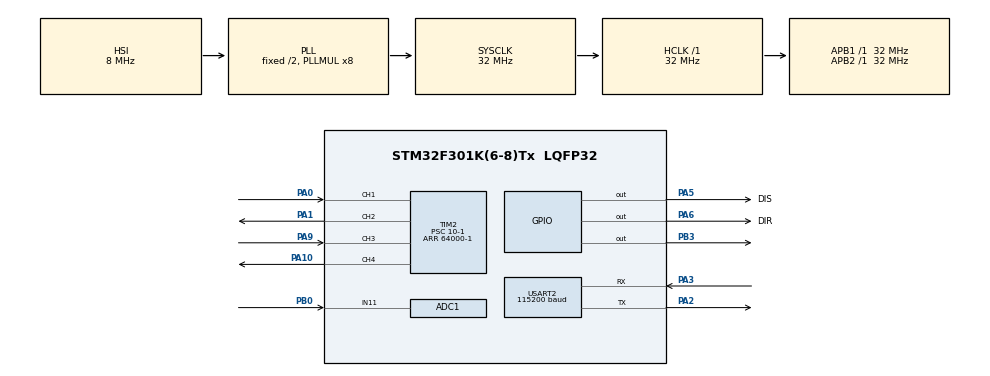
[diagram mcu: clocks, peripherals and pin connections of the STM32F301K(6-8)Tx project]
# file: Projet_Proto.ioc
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ADC1.Channel-0\#ChannelRegularConversion=ADC_CHANNEL_11
ADC1.NbrOfConversionFlag=1
ADC1.Offset-0\#ChannelRegularConversion=0
ADC1.OffsetNumber-0\#ChannelRegularConversion=ADC_OFFSET_NONE
ADC1.Rank-0\#ChannelRegularConversion=1
ADC1.SamplingTime-0\#ChannelRegularConversion=ADC_SAMPLETIME_601CYCLES_5
ADC1.SamplingTimeOPAMP-0\#ChannelRegularConversion=ADC_SAMPLETIME_19CYCLES_5
ADC1.SubFamily=STM32F301x8
ADC1.master=1
Mcu.Family=STM32F3
Mcu.Name=STM32F301K(6-8)Tx
Mcu.Package=LQFP32
NVIC.PriorityGroup=NVIC_PRIORITYGROUP_4
NVIC.TIM2_IRQn=true\:0\:0\:false\:false\:true\:true\:true\:true
PA0.Signal=S_TIM2_CH1_ETR
PA1.GPIO_Speed=GPIO_SPEED_FREQ_HIGH
PA1.Signal=S_TIM2_CH2
PA10.Signal=S_TIM2_CH4
PA2.Mode=Asynchronous
PA2.Signal=USART2_TX
PA3.Mode=Asynchronous
PA3.Signal=USART2_RX
PA5.GPIO_Label=DIS
PA5.Signal=GPIO_Output
PA6.GPIO_Label=DIR
PA6.Signal=GPIO_Output
PA9.Signal=S_TIM2_CH3
PB0.Mode=IN11-Single-Ended
PB0.Signal=ADC1_IN11
PB3.Signal=GPIO_Output
ProjectManager.HeapSize=0x200
ProjectManager.StackSize=0x400
ProjectManager.TargetToolchain=STM32CubeIDE
RCC.AHBFreq_Value=32000000
RCC.APB1Freq_Value=32000000
RCC.APB1TimFreq_Value=32000000
RCC.APB2Freq_Value=32000000
RCC.APB2TimFreq_Value=32000000
RCC.CortexFreq_Value=32000000
RCC.HCLKFreq_Value=32000000
RCC.HSE_VALUE=8000000
RCC.HSI_VALUE=8000000
RCC.PLLMUL=RCC_PLL_MUL8
RCC.SYSCLKFreq_VALUE=32000000
RCC.SYSCLKSourceVirtual=RCC_SYSCLKSOURCE_PLLCLK
SH.S_TIM2_CH1_ETR.0=TIM2_CH1,Input_Capture1_from_TI1
SH.S_TIM2_CH2.0=TIM2_CH2,PWM Generation2 CH2
SH.S_TIM2_CH3.0=TIM2_CH3,Input_Capture3_from_TI3
SH.S_TIM2_CH4.0=TIM2_CH4,PWM Generation4 CH4
TIM2.AutoReloadPreload=TIM_AUTORELOAD_PRELOAD_ENABLE
TIM2.Channel-Input_Capture1_from_TI1=TIM_CHANNEL_1
TIM2.Channel-Input_Capture3_from_TI3=TIM_CHANNEL_3
TIM2.Channel-PWM\ Generation2\ CH2=TIM_CHANNEL_2
TIM2.Channel-PWM\ Generation4\ CH4=TIM_CHANNEL_4
TIM2.Period=64000-1
TIM2.Prescaler=10-1
TIM2.Pulse-PWM\ Generation2\ CH2=1500
USART2.BaudRate=115200
USART2.VirtualMode-Asynchronous=VM_ASYNC
VP_TIM2_VS_ClockSourceINT.Mode=Internal
board=custom

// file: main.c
/* USER CODE BEGIN Header */

/**

 ******************************************************************************

 * @file : main.c

 * @brief : Main program body

 ******************************************************************************

 * @attention

 *

 * Copyright (c) 2025 STMicroelectronics.

 * All rights reserved.

 *

 * This software is licensed under terms that can be found in the LICENSE file

 * in the root directory of this software component.

 * If no LICENSE file comes with this software, it is provided AS-IS.

 *

 ******************************************************************************

 */

/* USER CODE END Header */

#include "main.h"

/* USER CODE BEGIN Includes */

#include <stdio.h>

#include <string.h>

/* USER CODE END Includes */

/* USER CODE BEGIN PD */

#define DIS_Pin GPIO_PIN_5

#define DIS_GPIO_Port GPIOA

#define DIR_Pin GPIO_PIN_6

#define DIR_GPIO_Port GPIOB

/* USER CODE END PD */

ADC_HandleTypeDef hadc1;

TIM_HandleTypeDef htim2;

UART_HandleTypeDef huart2;

void SystemClock_Config(void);

static void MX_GPIO_Init(void);

static void MX_TIM2_Init(void);

static void MX_USART2_UART_Init(void);

static void MX_ADC1_Init(void);

/* USER CODE BEGIN 0 */

void Servo_Set_Speed1(float);

void Servo_Set_Speed2(float);

uint32_t adc_val = 0;

float tension = 0;

volatile uint32_t T2=0;

volatile uint32_t T1=0;

volatile uint8_t T1pret=0;

volatile uint32_t F=0;

volatile uint32_t T=0;

char frequence[40];

char periode[40];

volatile uint32_t Difference = 0;

char cap_data[100];

volatile float Capacitance = 0.0f;

volatile int Cap = 0;

volatile uint32_t IC1_Value1 = 0, IC1_Value2 = 0, Diff1 = 0, Freq1 = 0;

volatile uint32_t IC2_Value1 = 0, IC2_Value2 = 0, Diff2 = 0, Freq2 = 0;

volatile uint8_t IsFirstCaptured1 = 0, IsFirstCaptured2 = 0;

volatile uint8_t CalcReady1 = 0, CalcReady2 = 0;

/* USER CODE END 0 */

int main(void)

{

 /* MCU Configuration--------------------------------------------------------*/

 /* Reset of all peripherals, Initializes the Flash interface and the Systick. */

 HAL_Init();

 /* Configure the system clock */

 SystemClock_Config();

 /* Initialize all configured peripherals */

 MX_GPIO_Init();

 MX_TIM2_Init();

 MX_USART2_UART_Init();

 MX_ADC1_Init();

 /* USER CODE BEGIN 2 */

 HAL_TIM_IC_Start_IT(&htim2,TIM_CHANNEL_1);

 HAL_TIM_IC_Start_IT(&htim2,TIM_CHANNEL_3);

 HAL_TIM_PWM_Start(&htim2, TIM_CHANNEL_2);

 HAL_TIM_PWM_Start(&htim2, TIM_CHANNEL_4); // Démarre le PWM sur PA1 (TIM2 Channel 2)

 /* USER CODE END 2 */

 /* Infinite loop */

 /* USER CODE BEGIN WHILE */

 while (1)

 { if (CalcReady1 && CalcReady2)

 {

 float Cap1 = (1.0f / (1000000.0f * Freq1)) * 1e12;

 int cap1_int = (int)(Cap1 + 0.5f);

 float Cap2 = (1.0f / (1000000.0f * Freq2)) * 1e12;

 int cap2_int = (int)(Cap2 + 0.5f);

 sprintf(cap_data, "F1 %lu F2 %lu \n\r",

 Freq1, Freq2);

 HAL_UART_Transmit(&huart2, (uint8_t*)cap_data, strlen(cap_data), 200);

 CalcReady1 = 0;

 CalcReady2 = 0;

 HAL_Delay(500);}

 //Servo_Set_Speed(0.0f); // arrêt au démarrage

 if (Freq1 > 1.0f && Freq1 < 45000.0f)

 {

 Servo_Set_Speed2(1.0f);

 }

 else if (Freq1 >= 45000.0f && Freq1 < 49000.0f)

 {

 Servo_Set_Speed1(0.6f);

 }
 else if (Freq1 >= 49000.0f && Freq1 < 52000.0f)

 {

 Servo_Set_Speed1(0.2f);

 }

 else

 {

 Servo_Set_Speed1(0.0f); // sinon arrêt

 }

 if (Freq2 > 1.0f && Freq2 < 45000.0f)

 {

 Servo_Set_Speed2(1.0f);

 }

 else if (Freq2 >= 45000.0f && Freq2 < 49000.0f)

 {

 Servo_Set_Speed2(0.6f);

 }
 else if (Freq2 >= 49000.0f && Freq2 < 52000.0f)

 {

 Servo_Set_Speed2(0.2f);

 }

 else

 {

 Servo_Set_Speed2(0.0f); // sinon arrêt

 }

 /* USER CODE BEGIN 3 */

 }

 /* USER CODE END 3 */

 /* USER CODE END WHILE */

 }

void SystemClock_Config(void)

{

 RCC_OscInitTypeDef RCC_OscInitStruct = {0};

 RCC_ClkInitTypeDef RCC_ClkInitStruct = {0};

 RCC_PeriphCLKInitTypeDef PeriphClkInit = {0};

 /** Initializes the RCC Oscillators according to the specified parameters

 * in the RCC_OscInitTypeDef structure.

 */

 RCC_OscInitStruct.OscillatorType = RCC_OSCILLATORTYPE_HSI;

 RCC_OscInitStruct.HSIState = RCC_HSI_ON;

 RCC_OscInitStruct.HSICalibrationValue = RCC_HSICALIBRATION_DEFAULT;

 RCC_OscInitStruct.PLL.PLLState = RCC_PLL_ON;

 RCC_OscInitStruct.PLL.PLLSource = RCC_PLLSOURCE_HSI;

 RCC_OscInitStruct.PLL.PLLMUL = RCC_PLL_MUL8;

 if (HAL_RCC_OscConfig(&RCC_OscInitStruct) != HAL_OK)

 {

 Error_Handler();

 }

 /** Initializes the CPU, AHB and APB buses clocks

 */

 RCC_ClkInitStruct.ClockType = RCC_CLOCKTYPE_HCLK|RCC_CLOCKTYPE_SYSCLK

 |RCC_CLOCKTYPE_PCLK1|RCC_CLOCKTYPE_PCLK2;

 RCC_ClkInitStruct.SYSCLKSource = RCC_SYSCLKSOURCE_PLLCLK;

 RCC_ClkInitStruct.AHBCLKDivider = RCC_SYSCLK_DIV1;

 RCC_ClkInitStruct.APB1CLKDivider = RCC_HCLK_DIV1;

 RCC_ClkInitStruct.APB2CLKDivider = RCC_HCLK_DIV1;

 if (HAL_RCC_ClockConfig(&RCC_ClkInitStruct, FLASH_LATENCY_1) != HAL_OK)

 {

 Error_Handler();

 }

 PeriphClkInit.PeriphClockSelection = RCC_PERIPHCLK_ADC1;

 PeriphClkInit.Adc1ClockSelection = RCC_ADC1PLLCLK_DIV1;

 if (HAL_RCCEx_PeriphCLKConfig(&PeriphClkInit) != HAL_OK)

 {

 Error_Handler();

 }

}

static void MX_ADC1_Init(void)

{

 ADC_ChannelConfTypeDef sConfig = {0};

 /** Common config

 */

 hadc1.Instance = ADC1;

 hadc1.Init.ClockPrescaler = ADC_CLOCK_ASYNC_DIV1;

 hadc1.Init.Resolution = ADC_RESOLUTION_12B;

 hadc1.Init.ScanConvMode = ADC_SCAN_DISABLE;

 hadc1.Init.ContinuousConvMode = DISABLE;

 hadc1.Init.DiscontinuousConvMode = DISABLE;

 hadc1.Init.ExternalTrigConvEdge = ADC_EXTERNALTRIGCONVEDGE_NONE;

 hadc1.Init.ExternalTrigConv = ADC_SOFTWARE_START;

 hadc1.Init.DataAlign = ADC_DATAALIGN_RIGHT;

 hadc1.Init.NbrOfConversion = 1;

 hadc1.Init.DMAContinuousRequests = DISABLE;

 hadc1.Init.EOCSelection = ADC_EOC_SINGLE_CONV;

 hadc1.Init.LowPowerAutoWait = DISABLE;

 hadc1.Init.Overrun = ADC_OVR_DATA_OVERWRITTEN;

 if (HAL_ADC_Init(&hadc1) != HAL_OK)

 {

 Error_Handler();

 }

 /** Configure Regular Channel

 */

 sConfig.Channel = ADC_CHANNEL_11;

 sConfig.Rank = ADC_REGULAR_RANK_1;

 sConfig.SingleDiff = ADC_SINGLE_ENDED;

 sConfig.SamplingTime = ADC_SAMPLETIME_601CYCLES_5;

 sConfig.OffsetNumber = ADC_OFFSET_NONE;

 sConfig.Offset = 0;

 if (HAL_ADC_ConfigChannel(&hadc1, &sConfig) != HAL_OK)

 {

 Error_Handler();

 }

}

static void MX_TIM2_Init(void)

{

 TIM_ClockConfigTypeDef sClockSourceConfig = {0};

 TIM_MasterConfigTypeDef sMasterConfig = {0};

 TIM_IC_InitTypeDef sConfigIC = {0};

 TIM_OC_InitTypeDef sConfigOC = {0};

 htim2.Instance = TIM2;

 htim2.Init.Prescaler = 10-1;

 htim2.Init.CounterMode = TIM_COUNTERMODE_UP;

 htim2.Init.Period = 64000-1;

 htim2.Init.ClockDivision = TIM_CLOCKDIVISION_DIV1;

 htim2.Init.AutoReloadPreload = TIM_AUTORELOAD_PRELOAD_ENABLE;

 if (HAL_TIM_Base_Init(&htim2) != HAL_OK)

 {

 Error_Handler();

 }

 sClockSourceConfig.ClockSource = TIM_CLOCKSOURCE_INTERNAL;

 if (HAL_TIM_ConfigClockSource(&htim2, &sClockSourceConfig) != HAL_OK)

 {

 Error_Handler();

 }

 if (HAL_TIM_IC_Init(&htim2) != HAL_OK)

 {

 Error_Handler();

 }

 if (HAL_TIM_PWM_Init(&htim2) != HAL_OK)

 {

 Error_Handler();

 }

 sMasterConfig.MasterOutputTrigger = TIM_TRGO_RESET;

 sMasterConfig.MasterSlaveMode = TIM_MASTERSLAVEMODE_DISABLE;

 if (HAL_TIMEx_MasterConfigSynchronization(&htim2, &sMasterConfig) != HAL_OK)

 {

 Error_Handler();

 }

 sConfigIC.ICPolarity = TIM_INPUTCHANNELPOLARITY_RISING;

 sConfigIC.ICSelection = TIM_ICSELECTION_DIRECTTI;

 sConfigIC.ICPrescaler = TIM_ICPSC_DIV1;

 sConfigIC.ICFilter = 0;

 if (HAL_TIM_IC_ConfigChannel(&htim2, &sConfigIC, TIM_CHANNEL_1) != HAL_OK)

 {

 Error_Handler();

 }

 sConfigOC.OCMode = TIM_OCMODE_PWM1;

 sConfigOC.Pulse = 1500;

 sConfigOC.OCPolarity = TIM_OCPOLARITY_HIGH;

 sConfigOC.OCFastMode = TIM_OCFAST_DISABLE;

 if (HAL_TIM_PWM_ConfigChannel(&htim2, &sConfigOC, TIM_CHANNEL_2) != HAL_OK)

 {

 Error_Handler();

 }

 if (HAL_TIM_IC_ConfigChannel(&htim2, &sConfigIC, TIM_CHANNEL_3) != HAL_OK)

 {

 Error_Handler();

 }

 sConfigOC.Pulse = 0;

 if (HAL_TIM_PWM_ConfigChannel(&htim2, &sConfigOC, TIM_CHANNEL_4) != HAL_OK)

 {

 Error_Handler();

 }

 HAL_TIM_MspPostInit(&htim2);

}

static void MX_USART2_UART_Init(void)

{

 huart2.Instance = USART2;

 huart2.Init.BaudRate = 115200;

 huart2.Init.WordLength = UART_WORDLENGTH_8B;

 huart2.Init.StopBits = UART_STOPBITS_1;

 huart2.Init.Parity = UART_PARITY_NONE;

 huart2.Init.Mode = UART_MODE_TX_RX;

 huart2.Init.HwFlowCtl = UART_HWCONTROL_NONE;

 huart2.Init.OverSampling = UART_OVERSAMPLING_16;

 huart2.Init.OneBitSampling = UART_ONE_BIT_SAMPLE_DISABLE;

 huart2.AdvancedInit.AdvFeatureInit = UART_ADVFEATURE_NO_INIT;

 if (HAL_UART_Init(&huart2) != HAL_OK)

 {

 Error_Handler();

 }

}

static void MX_GPIO_Init(void)

{

 GPIO_InitTypeDef GPIO_InitStruct = {0};

 /* GPIO Ports Clock Enable */

 __HAL_RCC_GPIOA_CLK_ENABLE();

 __HAL_RCC_GPIOB_CLK_ENABLE();

 /*Configure GPIO pin Output Level */

 HAL_GPIO_WritePin(GPIOA, DIS_Pin|DIR_Pin, GPIO_PIN_RESET);

 /*Configure GPIO pin Output Level */

 HAL_GPIO_WritePin(GPIOB, GPIO_PIN_3, GPIO_PIN_RESET);

 /*Configure GPIO pins : DIS_Pin DIR_Pin */

 GPIO_InitStruct.Pin = DIS_Pin|DIR_Pin;

 GPIO_InitStruct.Mode = GPIO_MODE_OUTPUT_PP;

 GPIO_InitStruct.Pull = GPIO_NOPULL;

 GPIO_InitStruct.Speed = GPIO_SPEED_FREQ_LOW;

 HAL_GPIO_Init(GPIOA, &GPIO_InitStruct);

 /*Configure GPIO pin : PB3 */

 GPIO_InitStruct.Pin = GPIO_PIN_3;

 GPIO_InitStruct.Mode = GPIO_MODE_OUTPUT_PP;

 GPIO_InitStruct.Pull = GPIO_NOPULL;

 GPIO_InitStruct.Speed = GPIO_SPEED_FREQ_LOW;

 HAL_GPIO_Init(GPIOB, &GPIO_InitStruct);

}

/* USER CODE BEGIN 4 */

void HAL_TIM_IC_CaptureCallback(TIM_HandleTypeDef *htim)

{

 if (htim->Instance == TIM2) // Vérifie que c’est bien TIM2

 {

 if (htim->Channel == HAL_TIM_ACTIVE_CHANNEL_1)

 {

 if (IsFirstCaptured1 == 0)

 {

 IC1_Value1 = HAL_TIM_ReadCapturedValue(htim, TIM_CHANNEL_1);

 IsFirstCaptured1 = 1;

 }

 else

 {

 IC1_Value2 = HAL_TIM_ReadCapturedValue(htim, TIM_CHANNEL_1);

 if (IC1_Value2 >= IC1_Value1)

 {

 Diff1 = IC1_Value2 - IC1_Value1;

 }

 else

 {

 Diff1 = (htim->Instance->ARR + 1 - IC1_Value1) + IC1_Value2;

 }

 Freq1 = (HAL_RCC_GetPCLK1Freq() / (htim->Init.Prescaler + 1)) / Diff1;

 CalcReady1 = 1;

 IsFirstCaptured1 = 0;

 }

 }

 else if (htim->Channel == HAL_TIM_ACTIVE_CHANNEL_3)

 {

 if (IsFirstCaptured2 == 0)

 {

 IC2_Value1 = HAL_TIM_ReadCapturedValue(htim, TIM_CHANNEL_3);

 IsFirstCaptured2 = 1;

 }

 else

 {

 IC2_Value2 = HAL_TIM_ReadCapturedValue(htim, TIM_CHANNEL_3);

 if (IC2_Value2 >= IC2_Value1)

 {

 Diff2 = IC2_Value2 - IC2_Value1;

 }

 else

 {

 Diff2 = (htim->Instance->ARR + 1 - IC2_Value1) + IC2_Value2;

 }

 Freq2 = (HAL_RCC_GetPCLK1Freq() / (htim->Init.Prescaler + 1)) / Diff2;

 CalcReady2 = 1;

 IsFirstCaptured2 = 0;

 }

 }

 }

}

void Servo_Set_Speed1(float speed)

{

 // Clamp speed entre -1.0 et 1.0

 if (speed > 1.0f) speed = 1.0f;

 if (speed < -1.0f) speed = -1.0f;

 if (speed==0) __HAL_TIM_SET_COMPARE(&htim2, TIM_CHANNEL_2, 0);

 else{

 float pulse_us = 1500 + (speed * 200);

 uint32_t Timer_Period = __HAL_TIM_GET_AUTORELOAD(&htim2);

 uint32_t compare_value = (pulse_us * (Timer_Period + 1)) / 20000;

 __HAL_TIM_SET_COMPARE(&htim2, TIM_CHANNEL_2, compare_value);}

}

void Servo_Set_Speed2(float speed)

{

 // Clamp speed entre -1.0 et 1.0

 if (speed > 1.0f) speed = 1.0f;

 if (speed < -1.0f) speed = -1.0f;

 if (speed==0) __HAL_TIM_SET_COMPARE(&htim2, TIM_CHANNEL_4, 0);

 else{

 float pulse_us = 1500 + (speed * 200);

 uint32_t Timer_Period = __HAL_TIM_GET_AUTORELOAD(&htim2);

 uint32_t compare_value = (pulse_us * (Timer_Period + 1)) / 20000;

 __HAL_TIM_SET_COMPARE(&htim2, TIM_CHANNEL_4, compare_value);}

}

/* USER CODE END 4 */

void Error_Handler(void)

{

 __disable_irq();
 while (1)
 {
 }

}
